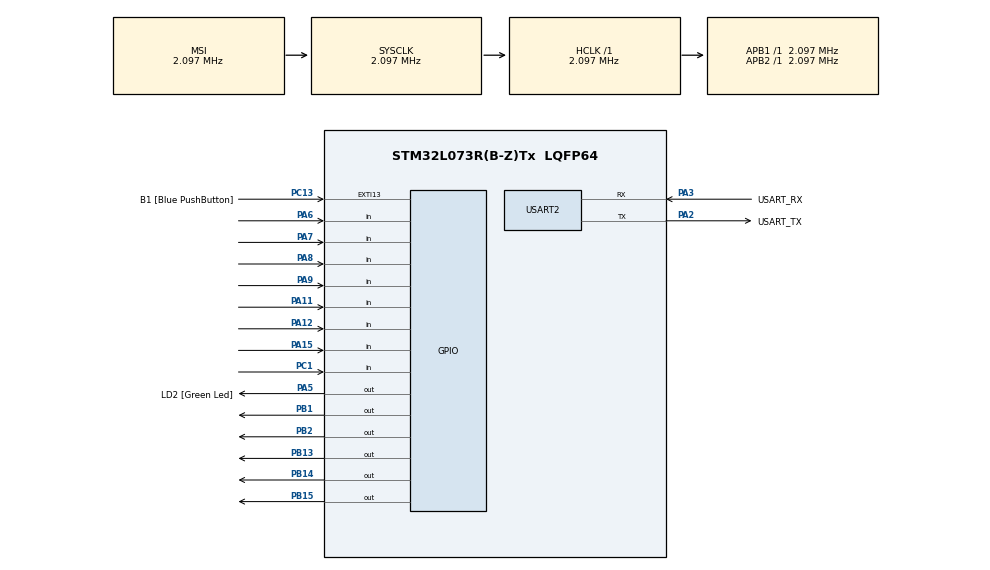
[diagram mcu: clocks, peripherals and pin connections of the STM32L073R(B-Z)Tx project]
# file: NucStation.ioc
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Mcu.Family=STM32L0
Mcu.Name=STM32L073R(B-Z)Tx
Mcu.Package=LQFP64
PA11.Signal=GPIO_Input
PA12.GPIO_PuPd=GPIO_PULLDOWN
PA12.Signal=GPIO_Input
PA13.GPIO_Label=TMS
PA13.Mode=Serial_Wire
PA13.Signal=SYS_SWDIO
PA14.GPIO_Label=TCK
PA14.Mode=Serial_Wire
PA14.Signal=SYS_SWCLK
PA15.Signal=GPIO_Input
PA2.GPIO_Label=USART_TX
PA2.Mode=Asynchronous
PA2.Signal=USART2_TX
PA3.GPIO_Label=USART_RX
PA3.Mode=Asynchronous
PA3.Signal=USART2_RX
PA5.GPIO_Label=LD2 [Green Led]
PA5.Signal=GPIO_Output
PA6.GPIO_PuPd=GPIO_PULLUP
PA6.Signal=GPIO_Input
PA7.GPIO_PuPd=GPIO_PULLUP
PA7.Signal=GPIO_Input
PA8.Signal=GPIO_Input
PA9.Signal=GPIO_Input
PB1.Signal=GPIO_Output
PB13.Signal=GPIO_Output
PB14.Signal=GPIO_Output
PB15.Signal=GPIO_Output
PB2.Signal=GPIO_Output
PC1.GPIO_PuPd=GPIO_PULLUP
PC1.Signal=GPIO_Input
PC13.GPIO_Label=B1 [Blue PushButton]
PC13.GPIO_ModeDefaultEXTI=GPIO_MODE_IT_FALLING
PC13.Signal=GPXTI13
PC14-OSC32_IN.Mode=LSE-External-Oscillator
PC14-OSC32_IN.Signal=RCC_OSC32_IN
PC15-OSC32_OUT.Mode=LSE-External-Oscillator
PC15-OSC32_OUT.Signal=RCC_OSC32_OUT
PH0-OSC_IN.GPIO_Label=MCO
PH0-OSC_IN.Mode=HSE-External-Clock-Source
PH0-OSC_IN.Signal=RCC_OSC_IN
ProjectManager.HeapSize=0x200
ProjectManager.StackSize=0x400
ProjectManager.TargetToolchain=STM32CubeIDE
RCC.AHBFreq_Value=2097000
RCC.APB1Freq_Value=2097000
RCC.APB1TimFreq_Value=2097000
RCC.APB2Freq_Value=2097000
RCC.APB2TimFreq_Value=2097000
RCC.HSE_VALUE=8000000
RCC.HSI16_VALUE=16000000
RCC.HSI48_VALUE=48000000
RCC.HSI_VALUE=16000000
RCC.MSI_VALUE=2097000
RCC.SYSCLKFreq_VALUE=2097000
RCC.VCOOutputFreq_Value=48000000
USART2.VirtualMode-Asynchronous=VM_ASYNC
board=NUCLEO-L073RZ

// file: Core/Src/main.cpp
/* USER CODE BEGIN Header */
/**
  ******************************************************************************
  * @file           : main.c
  * @brief          : Main program body
  ******************************************************************************
  * @attention
  *
  * Copyright (c) 2022 STMicroelectronics.
  * All rights reserved.
  *
  * This software is licensed under terms that can be found in the LICENSE file
  * in the root directory of this software component.
  * If no LICENSE file comes with this software, it is provided AS-IS.
  *
  ******************************************************************************
  */
/* USER CODE END Header */
#include <main.hpp>

 UART_HandleTypeDef huart2;

void SystemClock_Config(void);
static void MX_GPIO_Init(void);
static void MX_USART2_UART_Init(void);
/* USER CODE BEGIN PFP */
void UPrint(char _out[]);
int length_of_string(char* p);
/* USER CODE END PFP */

/* USER CODE BEGIN 0 */

const unsigned char mario_bros_nes_sprite_sheet_2 [] = {
		0x5f, 0xff, 0xff, 0xfe, 0x1f, 0xff, 0xff, 0xff, 0x9f, 0xff, 0xff, 0xff, 0xb3, 0xff, 0xff, 0xe7,
		0x86, 0xff, 0x07, 0xf7, 0xe0, 0xe0, 0x70, 0x75, 0xef, 0x89, 0xf6, 0x70, 0xff, 0xa9, 0x30, 0xfe,
		0xff, 0x88, 0x30, 0xfc, 0xff, 0x94, 0xa0, 0xf9, 0xff, 0x84, 0x04, 0xf9, 0xff, 0x88, 0x00, 0xfb,
		0xff, 0x90, 0x88, 0x7f, 0xff, 0x90, 0x00, 0x7f, 0xff, 0x90, 0x26, 0xff, 0xff, 0x90, 0x38, 0xff,
		0xff, 0x80, 0x7e, 0xff, 0xff, 0x80, 0xfe, 0xff, 0xff, 0x80, 0xe4, 0xff, 0xff, 0x82, 0xf1, 0xff,
		0xff, 0x82, 0x03, 0xff, 0xff, 0x83, 0xbf, 0xff, 0xff, 0x93, 0x87, 0xff, 0xff, 0xb2, 0x30, 0xff,
		0xff, 0x83, 0x9f, 0xff, 0xff, 0xff, 0xdf, 0xff, 0xff, 0xff, 0xcf, 0xff, 0xff, 0xff, 0x07, 0xff,
		0xff, 0xff, 0x77, 0xfe, 0xff, 0xfe, 0xf3, 0xf8, 0xff, 0xfc, 0xff, 0xf8, 0x3f, 0xfd, 0xff, 0xe0
};

/* USER CODE END 0 */

int main(void)
{

  /* MCU Configuration--------------------------------------------------------*/

  /* Reset of all peripherals, Initializes the Flash interface and the Systick. */
  HAL_Init();

  /* Configure the system clock */
  SystemClock_Config();

  /* Initialize all configured peripherals */
  MX_GPIO_Init();
  MX_USART2_UART_Init();

  /* USER CODE BEGIN 2 */
#ifdef __cplusplus
  UPrint("Setting up game... \r\n");
  LCD_setRST(GPIOB, GPIO_PIN_13);
  LCD_setCE(GPIOB, GPIO_PIN_14);
  LCD_setDC(GPIOB, GPIO_PIN_15);
  LCD_setDIN(GPIOB, GPIO_PIN_1);
  LCD_setCLK(GPIOB, GPIO_PIN_2);
  LCD_init();

  LCD_refreshScr();

  //DrawLCD(mario_bros_nes_sprite_sheet_2, sizeof(mario_bros_nes_sprite_sheet_2) / sizeof(mario_bros_nes_sprite_sheet_2[0]), 18, 0);
  //LCD_refreshScr();

  GamepadButton BUTTON_Left(GPIOA, GPIO_PIN_7);
  GamepadButton BUTTON_Right(GPIOA, GPIO_PIN_6);

  GamepadButton BUTTON_Up(GPIOA, GPIO_PIN_12);
  GamepadButton BUTTON_Down(GPIOA, GPIO_PIN_11);

  unsigned int count = 0;
  unsigned int count1 = 0;

  /* USER CODE END 2 */

  /* Infinite loop */
  /* USER CODE BEGIN WHILE */
  while (1)
  {
	  LCD_draw(mario_bros_nes_sprite_sheet_2, count, count1, 32, 32);
	  LCD_refreshArea(count, count1, count + 32, count1 + 32);
	  LCD_print("hello worldddd", 0, 0);
    /* USER CODE END WHILE */

    /* USER CODE BEGIN 3 */
	BUTTON_Left.UpdateButton();
	BUTTON_Right.UpdateButton();
	BUTTON_Up.UpdateButton();
	BUTTON_Down.UpdateButton();

	if(BUTTON_Left.IsPressing)
	{
		count--;
	}

	if(BUTTON_Right.IsPressing)
	{
		count++;
	}

	if(BUTTON_Up.IsPressing)
	{
		count1--;
	}

	if(BUTTON_Down.IsPressing)
	{
		count1++;
	}

	count = count % (LCD_WIDTH - 18);

  }
#endif
  /* USER CODE END 3 */
}

void SystemClock_Config(void)
{
  RCC_OscInitTypeDef RCC_OscInitStruct = {0};
  RCC_ClkInitTypeDef RCC_ClkInitStruct = {0};
  RCC_PeriphCLKInitTypeDef PeriphClkInit = {0};

  /** Configure the main internal regulator output voltage
  */
  __HAL_PWR_VOLTAGESCALING_CONFIG(PWR_REGULATOR_VOLTAGE_SCALE1);

  /** Initializes the RCC Oscillators according to the specified parameters
  * in the RCC_OscInitTypeDef structure.
  */
  RCC_OscInitStruct.OscillatorType = RCC_OSCILLATORTYPE_MSI;
  RCC_OscInitStruct.MSIState = RCC_MSI_ON;
  RCC_OscInitStruct.MSICalibrationValue = 0;
  RCC_OscInitStruct.MSIClockRange = RCC_MSIRANGE_5;
  RCC_OscInitStruct.PLL.PLLState = RCC_PLL_NONE;
  if (HAL_RCC_OscConfig(&RCC_OscInitStruct) != HAL_OK)
  {
    Error_Handler();
  }

  /** Initializes the CPU, AHB and APB buses clocks
  */
  RCC_ClkInitStruct.ClockType = RCC_CLOCKTYPE_HCLK|RCC_CLOCKTYPE_SYSCLK
                              |RCC_CLOCKTYPE_PCLK1|RCC_CLOCKTYPE_PCLK2;
  RCC_ClkInitStruct.SYSCLKSource = RCC_SYSCLKSOURCE_MSI;
  RCC_ClkInitStruct.AHBCLKDivider = RCC_SYSCLK_DIV1;
  RCC_ClkInitStruct.APB1CLKDivider = RCC_HCLK_DIV1;
  RCC_ClkInitStruct.APB2CLKDivider = RCC_HCLK_DIV1;

  if (HAL_RCC_ClockConfig(&RCC_ClkInitStruct, FLASH_LATENCY_0) != HAL_OK)
  {
    Error_Handler();
  }
  PeriphClkInit.PeriphClockSelection = RCC_PERIPHCLK_USART2;
  PeriphClkInit.Usart2ClockSelection = RCC_USART2CLKSOURCE_PCLK1;
  if (HAL_RCCEx_PeriphCLKConfig(&PeriphClkInit) != HAL_OK)
  {
    Error_Handler();
  }
}

static void MX_USART2_UART_Init(void)
{

  huart2.Instance = USART2;
  huart2.Init.BaudRate = 115200;
  huart2.Init.WordLength = UART_WORDLENGTH_8B;
  huart2.Init.StopBits = UART_STOPBITS_1;
  huart2.Init.Parity = UART_PARITY_NONE;
  huart2.Init.Mode = UART_MODE_TX_RX;
  huart2.Init.HwFlowCtl = UART_HWCONTROL_NONE;
  huart2.Init.OverSampling = UART_OVERSAMPLING_16;
  huart2.Init.OneBitSampling = UART_ONE_BIT_SAMPLE_DISABLE;
  huart2.AdvancedInit.AdvFeatureInit = UART_ADVFEATURE_NO_INIT;
  if (HAL_UART_Init(&huart2) != HAL_OK)
  {
    Error_Handler();
  }

}

static void MX_GPIO_Init(void)
{
	  GPIO_InitTypeDef GPIO_InitStruct = {0};

	  /* GPIO Ports Clock Enable */
	  __HAL_RCC_GPIOC_CLK_ENABLE();
	  __HAL_RCC_GPIOH_CLK_ENABLE();
	  __HAL_RCC_GPIOA_CLK_ENABLE();
	  __HAL_RCC_GPIOB_CLK_ENABLE();

	  /*Configure GPIO pin Output Level */
	  HAL_GPIO_WritePin(LD2_GPIO_Port, LD2_Pin, GPIO_PIN_RESET);

	  /*Configure GPIO pin Output Level */
	  HAL_GPIO_WritePin(GPIOB, GPIO_PIN_1|GPIO_PIN_2|GPIO_PIN_13|GPIO_PIN_14
	                          |GPIO_PIN_15, GPIO_PIN_RESET);

	  /*Configure GPIO pin : B1_Pin */
	  GPIO_InitStruct.Pin = B1_Pin;
	  GPIO_InitStruct.Mode = GPIO_MODE_IT_FALLING;
	  GPIO_InitStruct.Pull = GPIO_NOPULL;
	  HAL_GPIO_Init(B1_GPIO_Port, &GPIO_InitStruct);

	  /*Configure GPIO pin : PC1 */
	  GPIO_InitStruct.Pin = GPIO_PIN_1;
	  GPIO_InitStruct.Mode = GPIO_MODE_INPUT;
	  GPIO_InitStruct.Pull = GPIO_PULLUP;
	  HAL_GPIO_Init(GPIOC, &GPIO_InitStruct);

	  /*Configure GPIO pin : LD2_Pin */
	  GPIO_InitStruct.Pin = LD2_Pin;
	  GPIO_InitStruct.Mode = GPIO_MODE_OUTPUT_PP;
	  GPIO_InitStruct.Pull = GPIO_NOPULL;
	  GPIO_InitStruct.Speed = GPIO_SPEED_FREQ_LOW;
	  HAL_GPIO_Init(LD2_GPIO_Port, &GPIO_InitStruct);

	  /*Configure GPIO pins : PB1 PB2 PB13 PB14
	                           PB15 */
	  GPIO_InitStruct.Pin = GPIO_PIN_1|GPIO_PIN_2|GPIO_PIN_13|GPIO_PIN_14
	                          |GPIO_PIN_15;
	  GPIO_InitStruct.Mode = GPIO_MODE_OUTPUT_PP;
	  GPIO_InitStruct.Pull = GPIO_NOPULL;
	  GPIO_InitStruct.Speed = GPIO_SPEED_FREQ_VERY_HIGH;
	  HAL_GPIO_Init(GPIOB, &GPIO_InitStruct);

	  /*Configure GPIO pins : PA8 PA9 PA15 */
	  GPIO_InitStruct.Pin = GPIO_PIN_8|GPIO_PIN_9|GPIO_PIN_15;
	  GPIO_InitStruct.Mode = GPIO_MODE_INPUT;
	  GPIO_InitStruct.Pull = GPIO_NOPULL;
	  HAL_GPIO_Init(GPIOA, &GPIO_InitStruct);

}

/* USER CODE BEGIN 4 */
void UPrint(char _out[])
{
	HAL_UART_Transmit(&huart2, (uint8_t *) _out, length_of_string(_out),10);
}

int length_of_string(char* p) {
    int count = 0;

    while (*p != '\0') {
        count++;
        p++;
    }

    return count;
}
/* USER CODE END 4 */

void Error_Handler(void)
{
  __disable_irq();
  while (1)
  {
  }
}
